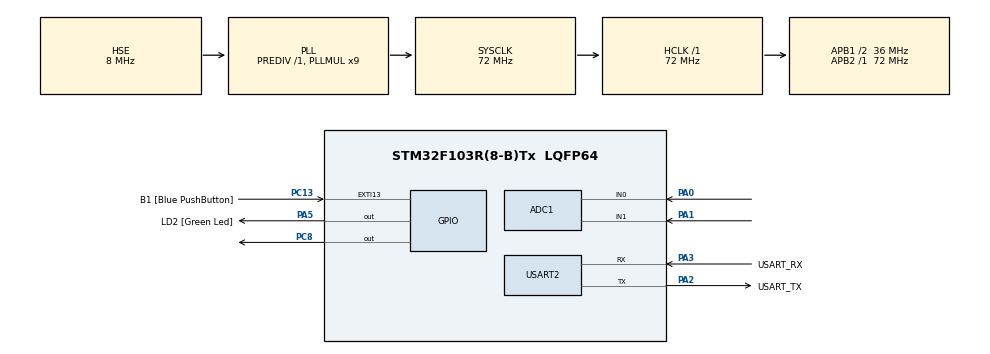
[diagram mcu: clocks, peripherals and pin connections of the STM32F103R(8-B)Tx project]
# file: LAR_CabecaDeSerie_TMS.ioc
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ADC1.Channel-0\#ChannelRegularConversion=ADC_CHANNEL_0
ADC1.Channel-1\#ChannelRegularConversion=ADC_CHANNEL_1
ADC1.ContinuousConvMode=ENABLE
ADC1.NbrOfConversion=2
ADC1.NbrOfConversionFlag=1
ADC1.Rank-0\#ChannelRegularConversion=1
ADC1.Rank-1\#ChannelRegularConversion=2
ADC1.SamplingTime-0\#ChannelRegularConversion=ADC_SAMPLETIME_1CYCLE_5
ADC1.SamplingTime-1\#ChannelRegularConversion=ADC_SAMPLETIME_1CYCLE_5
ADC1.master=1
Dma.ADC1.0.Direction=DMA_PERIPH_TO_MEMORY
Dma.ADC1.0.Instance=DMA1_Channel1
Dma.ADC1.0.MemDataAlignment=DMA_MDATAALIGN_WORD
Dma.ADC1.0.MemInc=DMA_MINC_ENABLE
Dma.ADC1.0.Mode=DMA_CIRCULAR
Dma.ADC1.0.PeriphDataAlignment=DMA_PDATAALIGN_WORD
Dma.ADC1.0.PeriphInc=DMA_PINC_DISABLE
Dma.ADC1.0.Priority=DMA_PRIORITY_LOW
Dma.Request0=ADC1
Dma.Request1=USART2_RX
Dma.Request2=USART2_TX
Dma.USART2_RX.1.Direction=DMA_PERIPH_TO_MEMORY
Dma.USART2_RX.1.Instance=DMA1_Channel6
Dma.USART2_RX.1.MemDataAlignment=DMA_MDATAALIGN_BYTE
Dma.USART2_RX.1.MemInc=DMA_MINC_ENABLE
Dma.USART2_RX.1.Mode=DMA_CIRCULAR
Dma.USART2_RX.1.PeriphDataAlignment=DMA_PDATAALIGN_BYTE
Dma.USART2_RX.1.PeriphInc=DMA_PINC_DISABLE
Dma.USART2_RX.1.Priority=DMA_PRIORITY_LOW
Dma.USART2_TX.2.Direction=DMA_MEMORY_TO_PERIPH
Dma.USART2_TX.2.Instance=DMA1_Channel7
Dma.USART2_TX.2.MemDataAlignment=DMA_MDATAALIGN_BYTE
Dma.USART2_TX.2.MemInc=DMA_MINC_ENABLE
Dma.USART2_TX.2.Mode=DMA_CIRCULAR
Dma.USART2_TX.2.PeriphDataAlignment=DMA_PDATAALIGN_BYTE
Dma.USART2_TX.2.PeriphInc=DMA_PINC_DISABLE
Dma.USART2_TX.2.Priority=DMA_PRIORITY_LOW
Mcu.Family=STM32F1
Mcu.Name=STM32F103R(8-B)Tx
Mcu.Package=LQFP64
NVIC.ADC1_2_IRQn=true\:0\:0\:false\:false\:true\:true\:true\:true
NVIC.DMA1_Channel1_IRQn=true\:0\:0\:false\:false\:true\:false\:true\:true
NVIC.DMA1_Channel6_IRQn=true\:0\:0\:false\:false\:true\:false\:true\:true
NVIC.DMA1_Channel7_IRQn=true\:0\:0\:false\:false\:true\:false\:true\:true
NVIC.EXTI15_10_IRQn=true\:0\:0\:false\:false\:true\:true\:true\:true
NVIC.PriorityGroup=NVIC_PRIORITYGROUP_4
NVIC.USART2_IRQn=true\:0\:0\:false\:false\:true\:true\:true\:true
PA0-WKUP.Signal=ADCx_IN0
PA1.Signal=ADCx_IN1
PA13.GPIO_Label=TMS
PA13.Mode=Serial_Wire
PA13.Signal=SYS_JTMS-SWDIO
PA14.GPIO_Label=TCK
PA14.Mode=Serial_Wire
PA14.Signal=SYS_JTCK-SWCLK
PA2.GPIO_Label=USART_TX
PA2.GPIO_Mode=GPIO_MODE_AF_PP
PA2.GPIO_PuPd=GPIO_NOPULL
PA2.GPIO_Speed=GPIO_SPEED_FREQ_LOW
PA2.Mode=Asynchronous
PA2.Signal=USART2_TX
PA3.GPIO_Label=USART_RX
PA3.GPIO_Mode=GPIO_MODE_AF_PP
PA3.GPIO_PuPd=GPIO_NOPULL
PA3.GPIO_Speed=GPIO_SPEED_FREQ_LOW
PA3.Mode=Asynchronous
PA3.Signal=USART2_RX
PA5.GPIO_Label=LD2 [Green Led]
PA5.GPIO_ModeDefaultOutputPP=GPIO_MODE_OUTPUT_PP
PA5.GPIO_PuPd=GPIO_NOPULL
PA5.GPIO_Speed=GPIO_SPEED_FREQ_LOW
PA5.Signal=GPIO_Output
PB3.GPIO_Label=SWO
PB3.Signal=SYS_JTDO-TRACESWO
PC13-TAMPER-RTC.GPIO_Label=B1 [Blue PushButton]
PC13-TAMPER-RTC.GPIO_PuPd=GPIO_NOPULL
PC13-TAMPER-RTC.Signal=GPXTI13
PC14-OSC32_IN.Mode=LSE-External-Oscillator
PC14-OSC32_IN.Signal=RCC_OSC32_IN
PC15-OSC32_OUT.Mode=LSE-External-Oscillator
PC15-OSC32_OUT.Signal=RCC_OSC32_OUT
PC8.GPIO_PuPd=GPIO_PULLDOWN
PC8.Signal=GPIO_Output
PD0-OSC_IN.Mode=HSE-External-Oscillator
PD0-OSC_IN.Signal=RCC_OSC_IN
PD1-OSC_OUT.Mode=HSE-External-Oscillator
PD1-OSC_OUT.Signal=RCC_OSC_OUT
ProjectManager.HeapSize=0x200
ProjectManager.StackSize=0x400
ProjectManager.TargetToolchain=STM32CubeIDE
RCC.ADCPresc=RCC_ADCPCLK2_DIV6
RCC.AHBFreq_Value=72000000
RCC.APB1CLKDivider=RCC_HCLK_DIV2
RCC.APB1Freq_Value=36000000
RCC.APB1TimFreq_Value=72000000
RCC.APB2Freq_Value=72000000
RCC.APB2TimFreq_Value=72000000
RCC.HCLKFreq_Value=72000000
RCC.PLLMUL=RCC_PLL_MUL9
RCC.PLLSourceVirtual=RCC_PLLSOURCE_HSE
RCC.RTCClockSelection=RCC_RTCCLKSOURCE_LSE
RCC.SYSCLKFreq_VALUE=72000000
RCC.SYSCLKSource=RCC_SYSCLKSOURCE_PLLCLK
RCC.USBFreq_Value=72000000
SH.ADCx_IN0.0=ADC1_IN0,IN0
SH.ADCx_IN1.0=ADC1_IN1,IN1
USART2.VirtualMode=VM_ASYNC
board=NUCLEO-F103RB

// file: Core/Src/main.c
/* USER CODE BEGIN Header */
/**
  **************************
  * @file           : main.c
  * @brief          : Main program body
  **************************
  * @attention
  *
  * Copyright (c) 2024 STMicroelectronics.
  * All rights reserved.
  *
  * This software is licensed under terms that can be found in the LICENSE file
  * in the root directory of this software component.
  * If no LICENSE file comes with this software, it is provided AS-IS.
  *
  **************************
  */
/* USER CODE END Header */
#include "main.h"

/* USER CODE BEGIN Includes */
#include <math.h>
/* USER CODE END Includes */

/* USER CODE BEGIN PD */
#define vcc (3.3)
#define UINT12_MAX ((1<<12)-1)
#define upperResist (100000)
#define thermistorNominalResist (100000)
#define nominalTemp (298.15)
#define beta (3950)
#define meanBufferSize (5)
#define batMaxVoltage (12.6)
#define batMinVoltage (7.5)
/* USER CODE END PD */

ADC_HandleTypeDef hadc1;
DMA_HandleTypeDef hdma_adc1;

UART_HandleTypeDef huart2;
DMA_HandleTypeDef hdma_usart2_rx;
DMA_HandleTypeDef hdma_usart2_tx;

/* USER CODE BEGIN PV */
uint8_t txData[1];
uint32_t rawAdc1Val1, dmaBuffer[2], rawAdc1Val2;
float thermistorResist, rawVoltage, rawTemp, tempBuffer[meanBufferSize], tempMean, rawBatVoltage, batVoltageBuffer[meanBufferSize], batVoltage;
int indx = 0;
/* USER CODE END PV */

void SystemClock_Config(void);
static void MX_GPIO_Init(void);
static void MX_DMA_Init(void);
static void MX_USART2_UART_Init(void);
static void MX_ADC1_Init(void);
/* USER CODE BEGIN PFP */
float adcVoltageConversion(float volt, uint32_t adc_value)
{
	float V = (volt*adc_value)/UINT12_MAX;
	return V;
}

float thermistorResistEstimation(float R)
{
	float Rt = (adcVoltageConversion(vcc, rawAdc1Val1)*R)/(vcc-adcVoltageConversion(vcc, rawAdc1Val1));
	return Rt;
}

float tempEstimation(float To, float B,  float Rt, float R0)
{
	float T = 1/((log(Rt/R0)/B)+(1/To));
	float Tc = T-273.15;
	return Tc;
}

float mean (float *buffer, int size)
{
	float count = 0;
	for(int i = 0; i<size; i++)
	{
		count += buffer[i];
	}
	float mean = count/size;
	return mean;
}
/* USER CODE END PFP */

/* USER CODE BEGIN 0 */
void HAL_ADC_ConvCpltCallback(ADC_HandleTypeDef* hadc)
{

	rawAdc1Val1 = dmaBuffer[0];
	rawAdc1Val2 = dmaBuffer[1];
	rawVoltage = adcVoltageConversion(vcc, rawAdc1Val1);
	rawBatVoltage = adcVoltageConversion(batMaxVoltage, rawAdc1Val2);
	thermistorResist = thermistorResistEstimation(upperResist);
	rawTemp = tempEstimation(nominalTemp, beta, thermistorResist, thermistorNominalResist);
	tempBuffer [indx%meanBufferSize] = rawTemp;
	batVoltageBuffer [indx%meanBufferSize] = rawBatVoltage;
	batVoltage = mean(batVoltageBuffer, meanBufferSize);
	tempMean = mean(tempBuffer, meanBufferSize);
	txData[0] = tempMean;
	indx++;

}
/* USER CODE END 0 */

int main(void)
{

  /* MCU Configuration--------------------------------------------------------*/

  /* Reset of all peripherals, Initializes the Flash interface and the Systick. */
  HAL_Init();

  /* Configure the system clock */
  SystemClock_Config();

  /* Initialize all configured peripherals */
  MX_GPIO_Init();
  MX_DMA_Init();
  MX_USART2_UART_Init();
  MX_ADC1_Init();
  /* USER CODE BEGIN 2 */
  /* USER CODE BEGIN Init */
    HAL_ADC_Start_IT(&hadc1);
    HAL_ADC_Start_DMA(&hadc1, dmaBuffer, 2);
    HAL_UART_Transmit_DMA(&huart2, txData, 1);
  /* USER CODE END 2 */

  /* Infinite loop */
  while (1)
  {

    /* USER CODE BEGIN 3 */
	  if (batVoltage==7.5 || tempMean > 50)
	  {
		  HAL_GPIO_WritePin(GPIOC, GPIO_PIN_8, SET);
	  }
	  else
	  {
		  HAL_GPIO_WritePin(GPIOC, GPIO_PIN_8, RESET);
	  }
	  HAL_Delay(300);
  }
  /* USER CODE END 3 */
}

void SystemClock_Config(void)
{
  RCC_OscInitTypeDef RCC_OscInitStruct = {0};
  RCC_ClkInitTypeDef RCC_ClkInitStruct = {0};
  RCC_PeriphCLKInitTypeDef PeriphClkInit = {0};

  /** Initializes the RCC Oscillators according to the specified parameters
  * in the RCC_OscInitTypeDef structure.
  */
  RCC_OscInitStruct.OscillatorType = RCC_OSCILLATORTYPE_HSE;
  RCC_OscInitStruct.HSEState = RCC_HSE_ON;
  RCC_OscInitStruct.HSEPredivValue = RCC_HSE_PREDIV_DIV1;
  RCC_OscInitStruct.HSIState = RCC_HSI_ON;
  RCC_OscInitStruct.PLL.PLLState = RCC_PLL_ON;
  RCC_OscInitStruct.PLL.PLLSource = RCC_PLLSOURCE_HSE;
  RCC_OscInitStruct.PLL.PLLMUL = RCC_PLL_MUL9;
  if (HAL_RCC_OscConfig(&RCC_OscInitStruct) != HAL_OK)
  {
    Error_Handler();
  }

  /** Initializes the CPU, AHB and APB buses clocks
  */
  RCC_ClkInitStruct.ClockType = RCC_CLOCKTYPE_HCLK|RCC_CLOCKTYPE_SYSCLK
                              |RCC_CLOCKTYPE_PCLK1|RCC_CLOCKTYPE_PCLK2;
  RCC_ClkInitStruct.SYSCLKSource = RCC_SYSCLKSOURCE_PLLCLK;
  RCC_ClkInitStruct.AHBCLKDivider = RCC_SYSCLK_DIV1;
  RCC_ClkInitStruct.APB1CLKDivider = RCC_HCLK_DIV2;
  RCC_ClkInitStruct.APB2CLKDivider = RCC_HCLK_DIV1;

  if (HAL_RCC_ClockConfig(&RCC_ClkInitStruct, FLASH_LATENCY_2) != HAL_OK)
  {
    Error_Handler();
  }
  PeriphClkInit.PeriphClockSelection = RCC_PERIPHCLK_ADC;
  PeriphClkInit.AdcClockSelection = RCC_ADCPCLK2_DIV6;
  if (HAL_RCCEx_PeriphCLKConfig(&PeriphClkInit) != HAL_OK)
  {
    Error_Handler();
  }
}

static void MX_ADC1_Init(void)
{

  ADC_ChannelConfTypeDef sConfig = {0};

  /** Common config
  */
  hadc1.Instance = ADC1;
  hadc1.Init.ScanConvMode = ADC_SCAN_ENABLE;
  hadc1.Init.ContinuousConvMode = ENABLE;
  hadc1.Init.DiscontinuousConvMode = DISABLE;
  hadc1.Init.ExternalTrigConv = ADC_SOFTWARE_START;
  hadc1.Init.DataAlign = ADC_DATAALIGN_RIGHT;
  hadc1.Init.NbrOfConversion = 2;
  if (HAL_ADC_Init(&hadc1) != HAL_OK)
  {
    Error_Handler();
  }

  /** Configure Regular Channel
  */
  sConfig.Channel = ADC_CHANNEL_0;
  sConfig.Rank = ADC_REGULAR_RANK_1;
  sConfig.SamplingTime = ADC_SAMPLETIME_1CYCLE_5;
  if (HAL_ADC_ConfigChannel(&hadc1, &sConfig) != HAL_OK)
  {
    Error_Handler();
  }

  /** Configure Regular Channel
  */
  sConfig.Channel = ADC_CHANNEL_1;
  sConfig.Rank = ADC_REGULAR_RANK_2;
  if (HAL_ADC_ConfigChannel(&hadc1, &sConfig) != HAL_OK)
  {
    Error_Handler();
  }

}

static void MX_USART2_UART_Init(void)
{

  huart2.Instance = USART2;
  huart2.Init.BaudRate = 115200;
  huart2.Init.WordLength = UART_WORDLENGTH_8B;
  huart2.Init.StopBits = UART_STOPBITS_1;
  huart2.Init.Parity = UART_PARITY_NONE;
  huart2.Init.Mode = UART_MODE_TX_RX;
  huart2.Init.HwFlowCtl = UART_HWCONTROL_NONE;
  huart2.Init.OverSampling = UART_OVERSAMPLING_16;
  if (HAL_UART_Init(&huart2) != HAL_OK)
  {
    Error_Handler();
  }

}

static void MX_DMA_Init(void)
{

  /* DMA controller clock enable */
  __HAL_RCC_DMA1_CLK_ENABLE();

  /* DMA interrupt init */
  /* DMA1_Channel1_IRQn interrupt configuration */
  HAL_NVIC_SetPriority(DMA1_Channel1_IRQn, 0, 0);
  HAL_NVIC_EnableIRQ(DMA1_Channel1_IRQn);
  /* DMA1_Channel6_IRQn interrupt configuration */
  HAL_NVIC_SetPriority(DMA1_Channel6_IRQn, 0, 0);
  HAL_NVIC_EnableIRQ(DMA1_Channel6_IRQn);
  /* DMA1_Channel7_IRQn interrupt configuration */
  HAL_NVIC_SetPriority(DMA1_Channel7_IRQn, 0, 0);
  HAL_NVIC_EnableIRQ(DMA1_Channel7_IRQn);

}

static void MX_GPIO_Init(void)
{
  GPIO_InitTypeDef GPIO_InitStruct = {0};

  /* GPIO Ports Clock Enable */
  __HAL_RCC_GPIOC_CLK_ENABLE();
  __HAL_RCC_GPIOD_CLK_ENABLE();
  __HAL_RCC_GPIOA_CLK_ENABLE();
  __HAL_RCC_GPIOB_CLK_ENABLE();

  /*Configure GPIO pin Output Level */
  HAL_GPIO_WritePin(LD2_GPIO_Port, LD2_Pin, GPIO_PIN_RESET);

  /*Configure GPIO pin Output Level */
  HAL_GPIO_WritePin(GPIOC, GPIO_PIN_8, GPIO_PIN_RESET);

  /*Configure GPIO pin : B1_Pin */
  GPIO_InitStruct.Pin = B1_Pin;
  GPIO_InitStruct.Mode = GPIO_MODE_IT_RISING;
  GPIO_InitStruct.Pull = GPIO_NOPULL;
  HAL_GPIO_Init(B1_GPIO_Port, &GPIO_InitStruct);

  /*Configure GPIO pin : LD2_Pin */
  GPIO_InitStruct.Pin = LD2_Pin;
  GPIO_InitStruct.Mode = GPIO_MODE_OUTPUT_PP;
  GPIO_InitStruct.Pull = GPIO_NOPULL;
  GPIO_InitStruct.Speed = GPIO_SPEED_FREQ_LOW;
  HAL_GPIO_Init(LD2_GPIO_Port, &GPIO_InitStruct);

  /*Configure GPIO pin : PC8 */
  GPIO_InitStruct.Pin = GPIO_PIN_8;
  GPIO_InitStruct.Mode = GPIO_MODE_OUTPUT_PP;
  GPIO_InitStruct.Pull = GPIO_PULLDOWN;
  GPIO_InitStruct.Speed = GPIO_SPEED_FREQ_LOW;
  HAL_GPIO_Init(GPIOC, &GPIO_InitStruct);

  /* EXTI interrupt init*/
  HAL_NVIC_SetPriority(EXTI15_10_IRQn, 0, 0);
  HAL_NVIC_EnableIRQ(EXTI15_10_IRQn);

}

void Error_Handler(void)
{
  __disable_irq();
  while (1)
  {
  }
}
